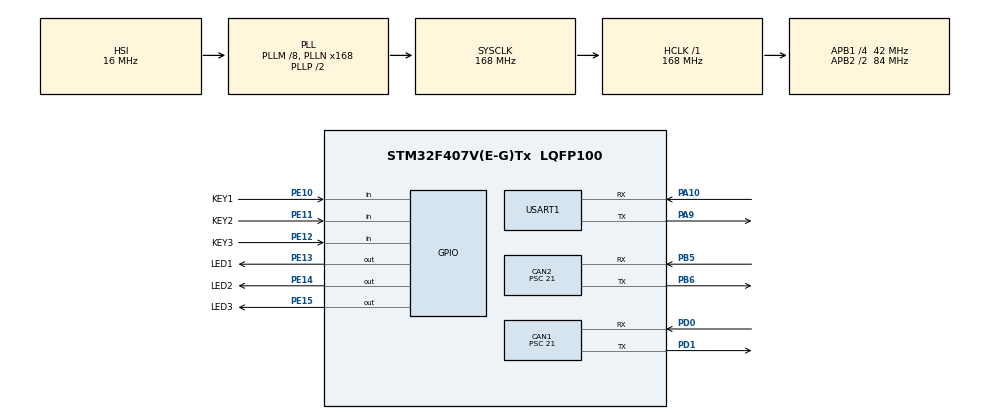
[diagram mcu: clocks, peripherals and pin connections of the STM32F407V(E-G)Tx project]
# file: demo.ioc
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CAN1.ABOM=ENABLE
CAN1.BS1=CAN_BS1_13TQ
CAN1.BS2=CAN_BS2_2TQ
CAN1.CalculateBaudRate=125000
CAN1.CalculateTimeBit=8000
CAN1.CalculateTimeQuantum=500.0
CAN1.Prescaler=21
CAN1.RFLM=ENABLE
CAN1.SJW=CAN_SJW_2TQ
CAN1.TXFP=ENABLE
CAN2.ABOM=ENABLE
CAN2.BS1=CAN_BS1_13TQ
CAN2.BS2=CAN_BS2_2TQ
CAN2.CalculateBaudRate=125000
CAN2.CalculateTimeBit=8000
CAN2.CalculateTimeQuantum=500.0
CAN2.Prescaler=21
CAN2.RFLM=DISABLE
CAN2.SJW=CAN_SJW_2TQ
CAN2.TXFP=DISABLE
Mcu.Family=STM32F4
Mcu.Name=STM32F407V(E-G)Tx
Mcu.Package=LQFP100
NVIC.CAN1_RX0_IRQn=true\:0\:0\:false\:false\:true\:true\:true\:true
NVIC.CAN1_RX1_IRQn=true\:0\:0\:false\:false\:true\:true\:true\:true
NVIC.CAN1_SCE_IRQn=true\:0\:0\:false\:false\:true\:true\:true\:true
NVIC.CAN1_TX_IRQn=true\:0\:0\:false\:false\:true\:true\:true\:true
NVIC.CAN2_RX0_IRQn=true\:0\:0\:false\:false\:true\:true\:true\:true
NVIC.CAN2_RX1_IRQn=true\:0\:0\:false\:false\:true\:true\:true\:true
NVIC.CAN2_SCE_IRQn=true\:0\:0\:false\:false\:true\:true\:true\:true
NVIC.CAN2_TX_IRQn=true\:0\:0\:false\:false\:true\:true\:true\:true
NVIC.PriorityGroup=NVIC_PRIORITYGROUP_4
NVIC.TIM6_DAC_IRQn=true\:0\:0\:false\:false\:true\:true\:true\:true
PA10.GPIO_PuPd=GPIO_PULLUP
PA10.Mode=Asynchronous
PA10.Signal=USART1_RX
PA13.Mode=Serial_Wire
PA13.Signal=SYS_JTMS-SWDIO
PA14.Mode=Serial_Wire
PA14.Signal=SYS_JTCK-SWCLK
PA9.GPIO_PuPd=GPIO_PULLUP
PA9.Mode=Asynchronous
PA9.Signal=USART1_TX
PB5.Mode=CAN_Activate
PB5.Signal=CAN2_RX
PB6.Mode=CAN_Activate
PB6.Signal=CAN2_TX
PD0.Mode=CAN_Activate
PD0.Signal=CAN1_RX
PD1.Mode=CAN_Activate
PD1.Signal=CAN1_TX
PE10.GPIO_Label=KEY1
PE10.GPIO_PuPd=GPIO_PULLUP
PE10.Signal=GPIO_Input
PE11.GPIO_Label=KEY2
PE11.GPIO_PuPd=GPIO_PULLUP
PE11.Signal=GPIO_Input
PE12.GPIO_Label=KEY3
PE12.GPIO_PuPd=GPIO_PULLUP
PE12.Signal=GPIO_Input
PE13.GPIO_Label=LED1
PE13.GPIO_PuPd=GPIO_PULLUP
PE13.Signal=GPIO_Output
PE14.GPIO_Label=LED2
PE14.GPIO_PuPd=GPIO_PULLUP
PE14.Signal=GPIO_Output
PE15.GPIO_Label=LED3
PE15.GPIO_PuPd=GPIO_PULLUP
PE15.Signal=GPIO_Output
PH0-OSC_IN.Mode=HSE-External-Oscillator
PH0-OSC_IN.Signal=RCC_OSC_IN
PH1-OSC_OUT.Mode=HSE-External-Oscillator
PH1-OSC_OUT.Signal=RCC_OSC_OUT
ProjectManager.HeapSize=0x2000
ProjectManager.StackSize=0x400
ProjectManager.TargetToolchain=MDK-ARM V5
RCC.48MHZClocksFreq_Value=84000000
RCC.AHBFreq_Value=168000000
RCC.APB1CLKDivider=RCC_HCLK_DIV4
RCC.APB1Freq_Value=42000000
RCC.APB1TimFreq_Value=84000000
RCC.APB2CLKDivider=RCC_HCLK_DIV2
RCC.APB2Freq_Value=84000000
RCC.APB2TimFreq_Value=168000000
RCC.CortexFreq_Value=168000000
RCC.HCLKFreq_Value=168000000
RCC.HSE_VALUE=25000000
RCC.HSI_VALUE=16000000
RCC.LSE_VALUE=32768
RCC.PLLM=8
RCC.PLLN=168
RCC.SYSCLKFreq_VALUE=168000000
RCC.SYSCLKSource=RCC_SYSCLKSOURCE_PLLCLK
RCC.VCOOutputFreq_Value=336000000
TIM6.AutoReloadPreload=TIM_AUTORELOAD_PRELOAD_ENABLE
TIM6.Period=500-1
TIM6.Prescaler=168-1
USART1.VirtualMode=VM_ASYNC
VP_TIM6_VS_ClockSourceINT.Mode=Enable_Timer
board=custom

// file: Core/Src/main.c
/* USER CODE BEGIN Header */
/**
 ******************************************************************************
 * @file           : main.c
 * @brief          : Main program body
 ******************************************************************************
 * @attention
 *
 * Copyright (c) 2023 STMicroelectronics.
 * All rights reserved.
 *
 * This software is licensed under terms that can be found in the LICENSE file
 * in the root directory of this software component.
 * If no LICENSE file comes with this software, it is provided AS-IS.
 *
 ******************************************************************************
 */
/* USER CODE END Header */
#include "main.h"

/* USER CODE BEGIN Includes */
#include <stdio.h>
#include "CO_app_STM32.h"
/* USER CODE END Includes */

CAN_HandleTypeDef hcan1;
CAN_HandleTypeDef hcan2;

TIM_HandleTypeDef htim6;

UART_HandleTypeDef huart1;

void        SystemClock_Config(void);
static void MX_GPIO_Init(void);
static void MX_CAN1_Init(void);
static void MX_CAN2_Init(void);
static void MX_USART1_UART_Init(void);
static void MX_TIM6_Init(void);

/* USER CODE BEGIN 0 */

static uint16_t m_timeout = 0;  // call CanTxMsg periodly

uint16_t reg_tst = 0x1234;

int fputc(int ch, FILE* f)
{
    HAL_UART_Transmit(&huart1, (uint8_t*)&ch, 1, 0xFF);
    return ch;
}

void HAL_TIM_PeriodElapsedCallback(TIM_HandleTypeDef* htim)  // 1ms
{
    ++m_timeout;

    if (htim == canopenNodeSTM32->timerHandle)
    {
        canopen_app_interrupt();
    }
}

void CanTxMsg(void)
{
    // clang-format off
    CAN_TxHeaderTypeDef header = {
        .StdId = 0x600 + canopenNodeSTM32->desiredNodeID,
        .ExtId = 0,
        .IDE   = CAN_ID_STD,
        .RTR   = CAN_RTR_DATA,
        .DLC   = 8,
        .TransmitGlobalTime = DISABLE,
    };
    // clang-format on

    uint32_t mailbox;

    uint8_t msg[8] = {0x2B, 0x00, 0x20, 0x00, 0x88, 0x11, 0x00, 0x00};  // WR 2000.01 (2 bytes)
    // uint8_t msg[8] = {0x40, 0x00, 0x20, 0x00, 0x00, 0x00, 0x00, 0x00};  // RD 2000.01
    // uint8_t msg[8] = {0x40, 0x03, 0x1A, 0x01, 0x00, 0x00, 0x00, 0x00};  // RD 1A03.01

    HAL_CAN_AddTxMessage(&hcan2, &header, msg, &mailbox);
}

/* USER CODE END 0 */

int main(void)
{

    /* MCU Configuration--------------------------------------------------------*/

    /* Reset of all peripherals, Initializes the Flash interface and the Systick. */
    HAL_Init();

    /* Configure the system clock */
    SystemClock_Config();

    /* Initialize all configured peripherals */
    MX_GPIO_Init();
    MX_CAN1_Init();
    MX_CAN2_Init();
    MX_USART1_UART_Init();
    MX_TIM6_Init();
    /* USER CODE BEGIN 2 */

    CANopenNodeSTM32 canOpenNodeSTM32;
    canOpenNodeSTM32.CANHandle      = &hcan1;
    canOpenNodeSTM32.HWInitFunction = MX_CAN1_Init;
    canOpenNodeSTM32.timerHandle    = &htim6;
    canOpenNodeSTM32.desiredNodeID  = 1;
    canOpenNodeSTM32.baudrate       = 125;  // 125Kbps
    canopen_app_init(&canOpenNodeSTM32);

    // connect can1 to can2
    HAL_CAN_Start(&hcan1);
    HAL_CAN_Start(&hcan2);

    HAL_TIM_Base_Start_IT(&htim6);

    /* USER CODE END 2 */

    /* Infinite loop */

    /* USER CODE BEGIN WHILE */

    while (1)
    {
        HAL_GPIO_WritePin(LED1_GPIO_Port, LED1_Pin, !canOpenNodeSTM32.outStatusLEDGreen);
        HAL_GPIO_WritePin(LED2_GPIO_Port, LED2_Pin, !canOpenNodeSTM32.outStatusLEDRed);
        canopen_app_process();

        if (m_timeout == 1000)
        {
            m_timeout = 0;
            printf(" - 0x%02X\r\n", reg_tst);
            CanTxMsg();  // send msg from can1 to can2
        }
        /* USER CODE END WHILE */

    }
}

void SystemClock_Config(void)
{
    RCC_OscInitTypeDef RCC_OscInitStruct = {0};
    RCC_ClkInitTypeDef RCC_ClkInitStruct = {0};

    /** Configure the main internal regulator output voltage
     */
    __HAL_RCC_PWR_CLK_ENABLE();
    __HAL_PWR_VOLTAGESCALING_CONFIG(PWR_REGULATOR_VOLTAGE_SCALE1);

    /** Initializes the RCC Oscillators according to the specified parameters
     * in the RCC_OscInitTypeDef structure.
     */
    RCC_OscInitStruct.OscillatorType      = RCC_OSCILLATORTYPE_HSI;
    RCC_OscInitStruct.HSIState            = RCC_HSI_ON;
    RCC_OscInitStruct.HSICalibrationValue = RCC_HSICALIBRATION_DEFAULT;
    RCC_OscInitStruct.PLL.PLLState        = RCC_PLL_ON;
    RCC_OscInitStruct.PLL.PLLSource       = RCC_PLLSOURCE_HSI;
    RCC_OscInitStruct.PLL.PLLM            = 8;
    RCC_OscInitStruct.PLL.PLLN            = 168;
    RCC_OscInitStruct.PLL.PLLP            = RCC_PLLP_DIV2;
    RCC_OscInitStruct.PLL.PLLQ            = 4;
    if (HAL_RCC_OscConfig(&RCC_OscInitStruct) != HAL_OK)
    {
        Error_Handler();
    }

    /** Initializes the CPU, AHB and APB buses clocks
     */
    RCC_ClkInitStruct.ClockType      = RCC_CLOCKTYPE_HCLK | RCC_CLOCKTYPE_SYSCLK | RCC_CLOCKTYPE_PCLK1 | RCC_CLOCKTYPE_PCLK2;
    RCC_ClkInitStruct.SYSCLKSource   = RCC_SYSCLKSOURCE_PLLCLK;
    RCC_ClkInitStruct.AHBCLKDivider  = RCC_SYSCLK_DIV1;
    RCC_ClkInitStruct.APB1CLKDivider = RCC_HCLK_DIV4;
    RCC_ClkInitStruct.APB2CLKDivider = RCC_HCLK_DIV2;

    if (HAL_RCC_ClockConfig(&RCC_ClkInitStruct, FLASH_LATENCY_5) != HAL_OK)
    {
        Error_Handler();
    }
}

static void MX_CAN1_Init(void)
{

    hcan1.Instance                  = CAN1;
    hcan1.Init.Prescaler            = 21;
    hcan1.Init.Mode                 = CAN_MODE_NORMAL;
    hcan1.Init.SyncJumpWidth        = CAN_SJW_2TQ;
    hcan1.Init.TimeSeg1             = CAN_BS1_13TQ;
    hcan1.Init.TimeSeg2             = CAN_BS2_2TQ;
    hcan1.Init.TimeTriggeredMode    = DISABLE;
    hcan1.Init.AutoBusOff           = ENABLE;
    hcan1.Init.AutoWakeUp           = DISABLE;
    hcan1.Init.AutoRetransmission   = ENABLE;
    hcan1.Init.ReceiveFifoLocked    = ENABLE;
    hcan1.Init.TransmitFifoPriority = ENABLE;
    if (HAL_CAN_Init(&hcan1) != HAL_OK)
    {
        Error_Handler();
    }
}

static void MX_CAN2_Init(void)
{

    hcan2.Instance                  = CAN2;
    hcan2.Init.Prescaler            = 21;
    hcan2.Init.Mode                 = CAN_MODE_NORMAL;
    hcan2.Init.SyncJumpWidth        = CAN_SJW_2TQ;
    hcan2.Init.TimeSeg1             = CAN_BS1_13TQ;
    hcan2.Init.TimeSeg2             = CAN_BS2_2TQ;
    hcan2.Init.TimeTriggeredMode    = DISABLE;
    hcan2.Init.AutoBusOff           = ENABLE;
    hcan2.Init.AutoWakeUp           = DISABLE;
    hcan2.Init.AutoRetransmission   = DISABLE;
    hcan2.Init.ReceiveFifoLocked    = DISABLE;
    hcan2.Init.TransmitFifoPriority = DISABLE;
    if (HAL_CAN_Init(&hcan2) != HAL_OK)
    {
        Error_Handler();
    }
}

static void MX_TIM6_Init(void)
{

    TIM_MasterConfigTypeDef sMasterConfig = {0};

    htim6.Instance               = TIM6;
    htim6.Init.Prescaler         = 168 - 1;
    htim6.Init.CounterMode       = TIM_COUNTERMODE_UP;
    htim6.Init.Period            = 500 - 1;
    htim6.Init.AutoReloadPreload = TIM_AUTORELOAD_PRELOAD_ENABLE;
    if (HAL_TIM_Base_Init(&htim6) != HAL_OK)
    {
        Error_Handler();
    }
    sMasterConfig.MasterOutputTrigger = TIM_TRGO_RESET;
    sMasterConfig.MasterSlaveMode     = TIM_MASTERSLAVEMODE_DISABLE;
    if (HAL_TIMEx_MasterConfigSynchronization(&htim6, &sMasterConfig) != HAL_OK)
    {
        Error_Handler();
    }
}

static void MX_USART1_UART_Init(void)
{

    huart1.Instance          = USART1;
    huart1.Init.BaudRate     = 115200;
    huart1.Init.WordLength   = UART_WORDLENGTH_8B;
    huart1.Init.StopBits     = UART_STOPBITS_1;
    huart1.Init.Parity       = UART_PARITY_NONE;
    huart1.Init.Mode         = UART_MODE_TX_RX;
    huart1.Init.HwFlowCtl    = UART_HWCONTROL_NONE;
    huart1.Init.OverSampling = UART_OVERSAMPLING_16;
    if (HAL_UART_Init(&huart1) != HAL_OK)
    {
        Error_Handler();
    }
}

static void MX_GPIO_Init(void)
{
    GPIO_InitTypeDef GPIO_InitStruct = {0};

    /* GPIO Ports Clock Enable */
    __HAL_RCC_GPIOH_CLK_ENABLE();
    __HAL_RCC_GPIOE_CLK_ENABLE();
    __HAL_RCC_GPIOA_CLK_ENABLE();
    __HAL_RCC_GPIOD_CLK_ENABLE();
    __HAL_RCC_GPIOB_CLK_ENABLE();

    /*Configure GPIO pin Output Level */
    HAL_GPIO_WritePin(GPIOE, LED1_Pin | LED2_Pin | LED3_Pin, GPIO_PIN_RESET);

    /*Configure GPIO pins : KEY1_Pin KEY2_Pin KEY3_Pin */
    GPIO_InitStruct.Pin  = KEY1_Pin | KEY2_Pin | KEY3_Pin;
    GPIO_InitStruct.Mode = GPIO_MODE_INPUT;
    GPIO_InitStruct.Pull = GPIO_PULLUP;
    HAL_GPIO_Init(GPIOE, &GPIO_InitStruct);

    /*Configure GPIO pins : LED1_Pin LED2_Pin LED3_Pin */
    GPIO_InitStruct.Pin   = LED1_Pin | LED2_Pin | LED3_Pin;
    GPIO_InitStruct.Mode  = GPIO_MODE_OUTPUT_PP;
    GPIO_InitStruct.Pull  = GPIO_PULLUP;
    GPIO_InitStruct.Speed = GPIO_SPEED_FREQ_LOW;
    HAL_GPIO_Init(GPIOE, &GPIO_InitStruct);
}

void Error_Handler(void)
{
    __disable_irq();
    while (1)
    {
    }
}
